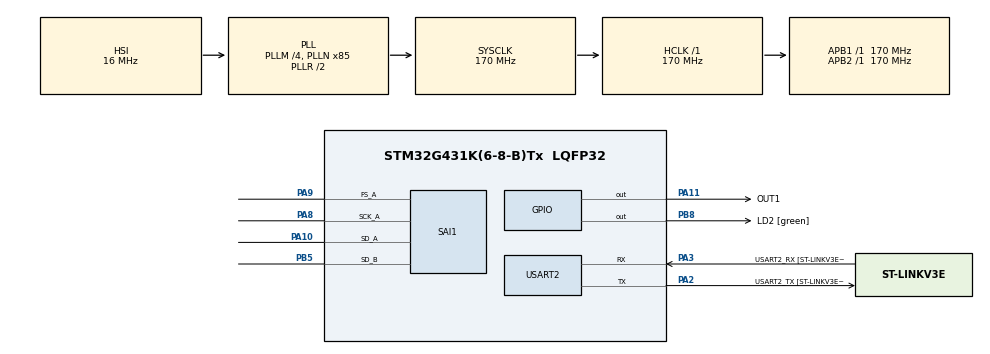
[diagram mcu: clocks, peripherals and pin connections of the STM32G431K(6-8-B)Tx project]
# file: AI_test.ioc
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Mcu.Family=STM32G4
Mcu.Name=STM32G431K(6-8-B)Tx
Mcu.Package=LQFP32
NVIC.PriorityGroup=NVIC_PRIORITYGROUP_4
PA10.Mode=SAI_A_Master
PA10.Signal=SAI1_SD_A
PA11.GPIO_Label=OUT1
PA11.GPIO_Speed=GPIO_SPEED_FREQ_MEDIUM
PA11.Signal=GPIO_Output
PA13.GPIO_Label=T_SWDIO
PA13.Mode=Serial_Wire
PA13.Signal=SYS_JTMS-SWDIO
PA14.GPIO_Label=T_SWCLK
PA14.Mode=Serial_Wire
PA14.Signal=SYS_JTCK-SWCLK
PA2.GPIO_Label=USART2_TX [ST-LINKV3E_VCP_RX]
PA2.Mode=Asynchronous
PA2.Signal=USART2_TX
PA3.GPIO_Label=USART2_RX [ST-LINKV3E_VCP_TX]
PA3.Mode=Asynchronous
PA3.Signal=USART2_RX
PA8.Mode=SAI_A_Master
PA8.Signal=SAI1_SCK_A
PA9.Mode=SAI_A_Master
PA9.Signal=SAI1_FS_A
PB3.GPIO_Label=T_SWO
PB3.Signal=SYS_JTDO-SWO
PB5.Mode=SAI_B_SyncSlave
PB5.Signal=SAI1_SD_B
PB8-BOOT0.GPIO_Label=LD2 [green]
PB8-BOOT0.Signal=GPIO_Output
ProjectManager.HeapSize=0x800
ProjectManager.StackSize=0x800
ProjectManager.TargetToolchain=STM32CubeIDE
RCC.ADC12Freq_Value=170000000
RCC.AHBFreq_Value=170000000
RCC.APB1Freq_Value=170000000
RCC.APB1TimFreq_Value=170000000
RCC.APB2Freq_Value=170000000
RCC.APB2TimFreq_Value=170000000
RCC.CortexFreq_Value=170000000
RCC.EXTERNAL_CLOCK_VALUE=12288000
RCC.HCLKFreq_Value=170000000
RCC.HSE_VALUE=8000000
RCC.HSI48_VALUE=48000000
RCC.HSI_VALUE=16000000
RCC.LSE_VALUE=32768
RCC.PLLM=RCC_PLLM_DIV4
RCC.PLLN=85
RCC.SYSCLKFreq_VALUE=170000000
RCC.SYSCLKSource=RCC_SYSCLKSOURCE_PLLCLK
RCC.USBFreq_Value=170000000
RCC.VCOOutputFreq_Value=340000000
SAI1.InitProtocol-SAI_A_Master=Enable
SAI1.InitProtocol-SAI_B_SyncSlave=Enable
SAI1.Instance-SAI_A_Master=SAI$Index_Block_A
SAI1.Instance-SAI_B_SyncSlave=SAI$Index_Block_B
SAI1.MckOutput-SAI_A_Master=SAI_MCK_OUTPUT_DISABLE
SAI1.VirtualMode-SAI_A_Master=VM_MASTER
SAI1.VirtualMode-SAI_B_SyncSlave=VM_SLAVE
SAI1.VirtualProtocol-SAI_A_BASIC=VM_BASIC_PROTOCOL
SAI1.VirtualProtocol-SAI_B_BASIC=VM_BASIC_PROTOCOL
STMicroelectronics.X-CUBE-AI.7.1.0.ActivationBufferSizeList=780
STMicroelectronics.X-CUBE-AI.7.1.0.ActivationBuffers=pool0
STMicroelectronics.X-CUBE-AI.7.1.0.ActivationNames=pool0
STMicroelectronics.X-CUBE-AI.7.1.0.ActivationSizes=AI_NETWORK_DATA_ACTIVATION_1_SIZE
STMicroelectronics.X-CUBE-AI.7.1.0.ApplicationCcDeviceJjApplication=ApplicationTemplate
STMicroelectronics.X-CUBE-AI.7.1.0.HeapSize=0x800
STMicroelectronics.X-CUBE-AI.7.1.0.InternalRamActivationBufferMaxSize=AI_NETWORK_DATA_ACTIVATIONS_SIZE
STMicroelectronics.X-CUBE-AI.7.1.0.LatestDirectoryUsed-79659ee14b83e36f43fb92ea6ca9cf1ed46d0df9dc2eddfeb07909896bec01ed=C\:\\Users\\steinmann\\Documents\\GitHub\\AI_PulseReconstruction\\colab_output
STMicroelectronics.X-CUBE-AI.7.1.0.MaximumNumberOfInputLayer=1
STMicroelectronics.X-CUBE-AI.7.1.0.MaximumNumberOfOutputLayer=1
STMicroelectronics.X-CUBE-AI.7.1.0.MaximumSizeOfInputLayer=AI_NETWORK_IN_1_SIZE_BYTES
STMicroelectronics.X-CUBE-AI.7.1.0.MaximumSizeOfOutputLayer=AI_NETWORK_OUT_1_SIZE_BYTES
STMicroelectronics.X-CUBE-AI.7.1.0.ModelActualCompression-79659ee14b83e36f43fb92ea6ca9cf1ed46d0df9dc2eddfeb07909896bec01ed=0.0
STMicroelectronics.X-CUBE-AI.7.1.0.ModelCompression-79659ee14b83e36f43fb92ea6ca9cf1ed46d0df9dc2eddfeb07909896bec01ed=1
STMicroelectronics.X-CUBE-AI.7.1.0.ModelFlashOccupation-79659ee14b83e36f43fb92ea6ca9cf1ed46d0df9dc2eddfeb07909896bec01ed=40780
STMicroelectronics.X-CUBE-AI.7.1.0.ModelHashList=79659ee14b83e36f43fb92ea6ca9cf1ed46d0df9dc2eddfeb07909896bec01ed
STMicroelectronics.X-CUBE-AI.7.1.0.ModelKind-79659ee14b83e36f43fb92ea6ca9cf1ed46d0df9dc2eddfeb07909896bec01ed=TFLITE
STMicroelectronics.X-CUBE-AI.7.1.0.ModelMacc-79659ee14b83e36f43fb92ea6ca9cf1ed46d0df9dc2eddfeb07909896bec01ed=10291
STMicroelectronics.X-CUBE-AI.7.1.0.ModelName-79659ee14b83e36f43fb92ea6ca9cf1ed46d0df9dc2eddfeb07909896bec01ed=network
STMicroelectronics.X-CUBE-AI.7.1.0.ModelNameList=network
STMicroelectronics.X-CUBE-AI.7.1.0.ModelRamOccupation-79659ee14b83e36f43fb92ea6ca9cf1ed46d0df9dc2eddfeb07909896bec01ed=780
STMicroelectronics.X-CUBE-AI.7.1.0.ModelStructureFile-79659ee14b83e36f43fb92ea6ca9cf1ed46d0df9dc2eddfeb07909896bec01ed=C\:\\Users\\steinmann\\Documents\\GitHub\\AI_PulseReconstruction\\colab_output\\pulse_reco.tflite
STMicroelectronics.X-CUBE-AI.7.1.0.ModelType-79659ee14b83e36f43fb92ea6ca9cf1ed46d0df9dc2eddfeb07909896bec01ed=STM32Cube.AI runtime
STMicroelectronics.X-CUBE-AI.7.1.0.ReadyForCodeGeneration=true
STMicroelectronics.X-CUBE-AI.7.1.0.StackSize=0x800
STMicroelectronics.X-CUBE-AI.7.1.0.WorkingBufferStartAddrList=0xFFFFFFFF
STMicroelectronics.X-CUBE-AI.7.1.0.XAaCUBEAaAICcArtificialOoIntelligenceJjCore=true
TIM1.AutoReloadPreload=TIM_AUTORELOAD_PRELOAD_ENABLE
TIM1.PeriodNoDither=1700
TIM1.Prescaler=1000
USART2.VirtualMode-Asynchronous=VM_ASYNC
USART2.WordLength=WORDLENGTH_8B
VP_CRC_VS_CRC.Mode=CRC_Activate
VP_SAI1_VP_$IpInstance_SAIA_SAI_BASIC.Mode=SAI_A_BASIC
VP_SAI1_VP_$IpInstance_SAIB_SAI_BASIC.Mode=SAI_B_BASIC
VP_STMicroelectronics.X-CUBE-AI_VS_ArtificialOoIntelligenceJjXAaCUBEAaAI_7.1.0.Mode=ArtificialOoIntelligenceJjXAaCUBEAaAI
VP_STMicroelectronics.X-CUBE-AI_VS_DeviceJjApplication_7.1.0.Mode=DeviceJjApplication
VP_SYS_VS_DBSignals.Mode=DisableDeadBatterySignals
VP_TIM1_VS_ClockSourceINT.Mode=Internal
board=NUCLEO-G431KB

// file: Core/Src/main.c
/* USER CODE BEGIN Header */
/**
  ******************************************************************************
  * @file           : main.c
  * @brief          : Main program body
  ******************************************************************************
  * @attention
  *
  * Copyright (c) 2022 STMicroelectronics.
  * All rights reserved.
  *
  * This software is licensed under terms that can be found in the LICENSE file
  * in the root directory of this software component.
  * If no LICENSE file comes with this software, it is provided AS-IS.
  *
  ******************************************************************************
  */

/**
  * followed the instructions from
  * https://wiki.stmicroelectronics.cn/stm32mcu/wiki/AI:How_to_perform_motion_sensing_on_STM32L4_IoTnode
  */
/* USER CODE END Header */
#include "main.h"
#include "crc.h"
#include "sai.h"
#include "tim.h"
#include "usart.h"
#include "gpio.h"

/* USER CODE BEGIN Includes */
#include "ai_platform.h"
#include "network.h"
#include "network_data.h"
/* USER CODE END Includes */

/* USER CODE BEGIN PV */
ai_handle network;
float aiInData[AI_NETWORK_IN_1_SIZE];
float aiOutData[AI_NETWORK_OUT_1_SIZE];
ai_u8 activations[AI_NETWORK_DATA_ACTIVATIONS_SIZE];

ai_buffer* ai_input;
ai_buffer* ai_output;
/* USER CODE END PV */

void SystemClock_Config(void);
/* USER CODE BEGIN PFP */
static void AI_Init(void);
static void AI_Run(float *pIn, float *pOut);
/* USER CODE END PFP */

/* USER CODE BEGIN 0 */
static void AI_Init(void){
  ai_error err;

  /* Create a local array with the addresses of the activations buffers */
  const ai_handle act_addr[] = { activations };
  /* Create an instance of the model */
  err = ai_network_create_and_init(&network, act_addr, NULL);
  if (err.type != AI_ERROR_NONE) {
    printf("ai_network_create error - type=%d code=%d\r\n", err.type, err.code);
    Error_Handler();
  }
  ai_input = ai_network_inputs_get(network, NULL);
  ai_output = ai_network_outputs_get(network, NULL);
}

static void AI_Run(float *pIn, float *pOut){
  ai_i32 batch;
  ai_error err;

  /* Update IO handlers with the data payload */
  ai_input[0].data = AI_HANDLE_PTR(pIn);
  ai_output[0].data = AI_HANDLE_PTR(pOut);

  batch = ai_network_run(network, ai_input, ai_output);
  if (batch != 1) {
    err = ai_network_get_error(network);
    printf("AI ai_network_run error - type=%d code=%d\r\n", err.type, err.code);
    Error_Handler();
  }
}
/* USER CODE END 0 */

int main(void)
{

  /* MCU Configuration--------------------------------------------------------*/

  /* Reset of all peripherals, Initializes the Flash interface and the Systick. */
  HAL_Init();

  /* Configure the system clock */
  SystemClock_Config();

  /* Initialize all configured peripherals */
  MX_GPIO_Init();
  MX_USART2_UART_Init();
  MX_CRC_Init();
  MX_SAI1_Init();
  MX_TIM1_Init();
  /* USER CODE BEGIN 2 */

  AI_Init();

  // all LEDs OFF
  LED_RUN(RESET);
  LED_STATUS(RESET);

  // all LEDs ON
  LED_STATUS(SET);
  HAL_Delay(500);
  LED_RUN(SET);
  HAL_Delay(500);

  // all LEDs OFF
  LED_RUN(RESET);
  LED_STATUS(RESET);

  /* USER CODE END 2 */

  /* Infinite loop */
  /* USER CODE BEGIN WHILE */
  printf("everything initialised - entering while loop\n");
  uint8_t i = 0;
  uint8_t rx_data[AI_NETWORK_IN_1_SIZE] = {0};
  while (1){
	HAL_UART_Receive(&huart2, (uint8_t*) rx_data, AI_NETWORK_IN_1_SIZE, 10*1000);  // receive 128 bytes of data

	// output received data
	for(i=0; i<AI_NETWORK_IN_1_SIZE;i++){
		aiInData[i] = rx_data[i]/255.;	// copy UART data to ai input
		printf("%d ", rx_data[i]);		// echo received data
	}
	printf("\n");

	/*
	// float output of aiInData
	for(i=0; i<AI_NETWORK_IN_1_SIZE;i++){
		printf("%fd ", aiInData[i]);// echo ANN input data
	}
	printf("\n");
	*/

	//printf("Running inference\r\n");
	LED_STATUS(SET);

	LED_RUN(SET);
	AI_Run(aiInData, aiOutData);
	LED_RUN(RESET);

  	LED_STATUS(RESET);

	/* Output results */
	for (uint32_t i = 0; i < AI_NETWORK_OUT_1_SIZE; i++) {
		printf("%8.6f\t", aiOutData[i]);
	}
	printf("\n");

    /* USER CODE END WHILE */

  }
}

void SystemClock_Config(void)
{
  RCC_OscInitTypeDef RCC_OscInitStruct = {0};
  RCC_ClkInitTypeDef RCC_ClkInitStruct = {0};

  /** Configure the main internal regulator output voltage
  */
  HAL_PWREx_ControlVoltageScaling(PWR_REGULATOR_VOLTAGE_SCALE1_BOOST);
  /** Initializes the RCC Oscillators according to the specified parameters
  * in the RCC_OscInitTypeDef structure.
  */
  RCC_OscInitStruct.OscillatorType = RCC_OSCILLATORTYPE_HSI;
  RCC_OscInitStruct.HSIState = RCC_HSI_ON;
  RCC_OscInitStruct.HSICalibrationValue = RCC_HSICALIBRATION_DEFAULT;
  RCC_OscInitStruct.PLL.PLLState = RCC_PLL_ON;
  RCC_OscInitStruct.PLL.PLLSource = RCC_PLLSOURCE_HSI;
  RCC_OscInitStruct.PLL.PLLM = RCC_PLLM_DIV4;
  RCC_OscInitStruct.PLL.PLLN = 85;
  RCC_OscInitStruct.PLL.PLLP = RCC_PLLP_DIV2;
  RCC_OscInitStruct.PLL.PLLQ = RCC_PLLQ_DIV2;
  RCC_OscInitStruct.PLL.PLLR = RCC_PLLR_DIV2;
  if (HAL_RCC_OscConfig(&RCC_OscInitStruct) != HAL_OK)
  {
    Error_Handler();
  }
  /** Initializes the CPU, AHB and APB buses clocks
  */
  RCC_ClkInitStruct.ClockType = RCC_CLOCKTYPE_HCLK|RCC_CLOCKTYPE_SYSCLK
                              |RCC_CLOCKTYPE_PCLK1|RCC_CLOCKTYPE_PCLK2;
  RCC_ClkInitStruct.SYSCLKSource = RCC_SYSCLKSOURCE_PLLCLK;
  RCC_ClkInitStruct.AHBCLKDivider = RCC_SYSCLK_DIV1;
  RCC_ClkInitStruct.APB1CLKDivider = RCC_HCLK_DIV1;
  RCC_ClkInitStruct.APB2CLKDivider = RCC_HCLK_DIV1;

  if (HAL_RCC_ClockConfig(&RCC_ClkInitStruct, FLASH_LATENCY_4) != HAL_OK)
  {
    Error_Handler();
  }
}

void Error_Handler(void)
{
  __disable_irq();
  while (1)
  {
  }
}
